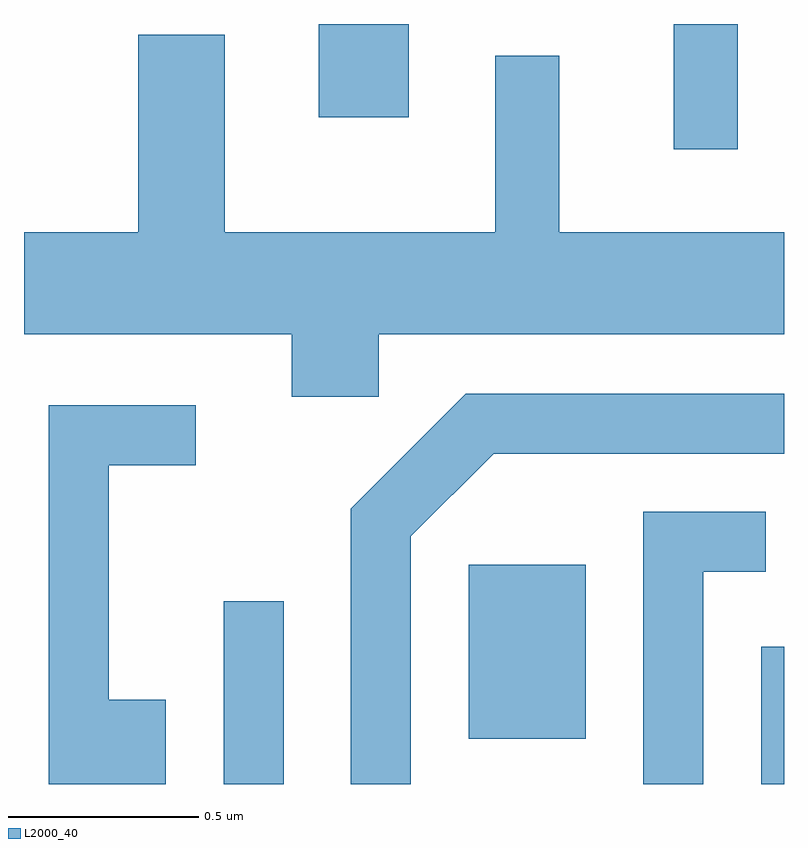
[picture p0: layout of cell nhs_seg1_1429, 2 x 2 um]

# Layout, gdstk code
import gdstk
lib = gdstk.Library(unit=1e-6, precision=1e-09)
def R(c, l, rs):  # rectangles x0, y0, x1, y1
    for r in rs: c.add(gdstk.rectangle(r[:2], r[2:], *l))
def P(c, l, *ps):  # polygons
    for p in ps: c.add(gdstk.Polygon(p, *l))
L2000_40 = (2000, 40)

nhs_seg1_1429 = lib.new_cell('nhs_seg1_1429')
R(nhs_seg1_1429, L2000_40, [(196.136,911.712,196.294,912.193), (197.551,911.712,197.611,912.073), (196.781,911.831,197.089,912.289), (197.321,913.383,197.489,913.712), (196.386,913.466,196.624,913.712)])
P(nhs_seg1_1429, L2000_40, [(196.544,912.896),(197.611,912.896),(197.611,913.164),(197.019,913.164),(197.019,913.628),(196.851,913.628),(196.851,913.164),(196.139,913.164),(196.139,913.684),(195.911,913.684),(195.911,913.164),(195.611,913.164),(195.611,912.896),(196.316,912.896),(196.316,912.731),(196.544,912.731)],
  [(196.629,912.364),(196.847,912.581),(197.611,912.581),(197.611,912.739),(196.774,912.739),(196.471,912.437),(196.471,911.712),(196.629,911.712)],
  [(195.984,911.934),(195.834,911.934),(195.834,912.551),(196.063,912.551),(196.063,912.709),(195.676,912.709),(195.676,911.712),(195.984,911.712)],
  [(197.399,912.271),(197.563,912.271),(197.563,912.429),(197.241,912.429),(197.241,911.712),(197.399,911.712)])

lib.write_gds('nhs_seg1_1429.gds')
